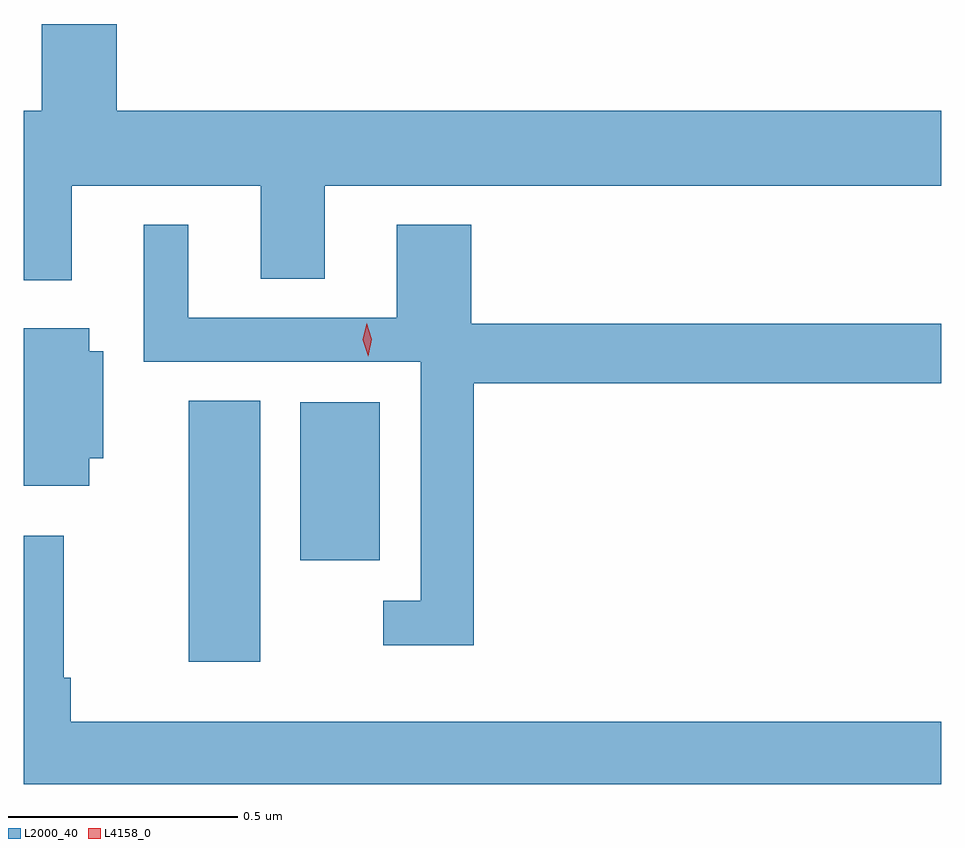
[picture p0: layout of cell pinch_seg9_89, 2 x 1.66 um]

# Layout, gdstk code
import gdstk
lib = gdstk.Library(unit=1e-6, precision=1e-09)
def R(c, l, rs):  # rectangles x0, y0, x1, y1
    for r in rs: c.add(gdstk.rectangle(r[:2], r[2:], *l))
def P(c, l, *ps):  # polygons
    for p in ps: c.add(gdstk.Polygon(p, *l))
L2000_40 = (2000, 40)
L4158_0 = (4158, 0)

pinch_seg9_89 = lib.new_cell('pinch_seg9_89')
R(pinch_seg9_89, L2000_40, [(1112.381,1180.731,1112.536,1181.3), (1112.624,1180.952,1112.797,1181.296)])
P(pinch_seg9_89, L2000_40, [(1112.125,1181.768),(1112.537,1181.768),(1112.537,1181.566),(1112.677,1181.566),(1112.677,1181.768),(1114.021,1181.768),(1114.021,1181.932),(1112.224,1181.932),(1112.224,1182.121),(1112.06,1182.121),(1112.06,1181.932),(1112.021,1181.932),(1112.021,1181.562),(1112.125,1181.562)],
  [(1113.002,1181.338),(1114.021,1181.338),(1114.021,1181.467),(1112.996,1181.467),(1112.996,1181.683),(1112.834,1181.683),(1112.834,1181.481),(1112.38,1181.481),(1112.38,1181.683),(1112.282,1181.683),(1112.282,1181.385),(1112.886,1181.385),(1112.886,1180.863),(1112.805,1180.863),(1112.805,1180.766),(1113.002,1180.766)],
  [(1112.164,1181.174),(1112.194,1181.174),(1112.194,1181.407),(1112.164,1181.407),(1112.164,1181.458),(1112.021,1181.458),(1112.021,1181.114),(1112.164,1181.114)],
  [(1112.123,1180.696),(1112.108,1180.696),(1112.108,1181.005),(1112.021,1181.005),(1112.021,1180.464),(1114.021,1180.464),(1114.021,1180.6),(1112.123,1180.6)])
P(pinch_seg9_89, L4158_0, [(1112.772,1181.397),(1112.772,1181.397),(1112.76,1181.433),(1112.769,1181.469),(1112.769,1181.469),(1112.769,1181.469),(1112.78,1181.434),(1112.772,1181.397)])

lib.write_gds('pinch_seg9_89.gds')
